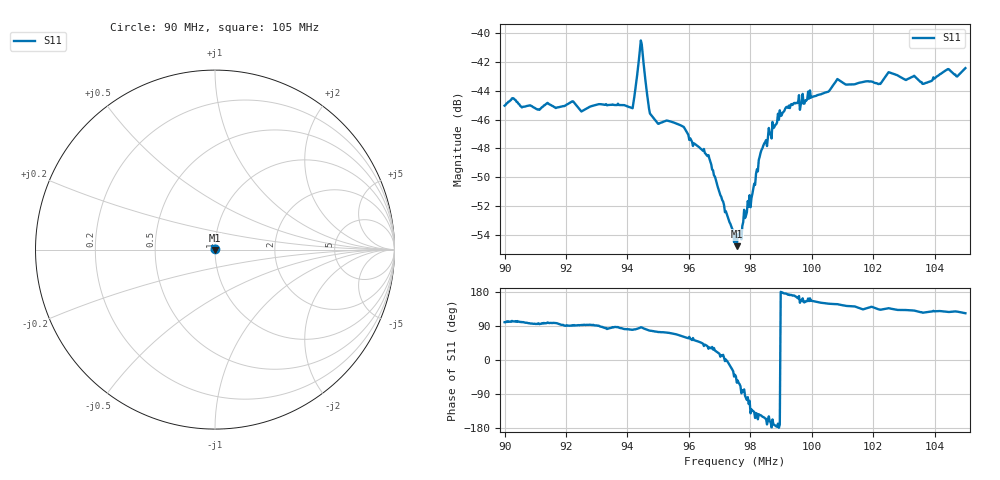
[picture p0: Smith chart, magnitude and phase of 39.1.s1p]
# HZ S RI R 50
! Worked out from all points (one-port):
!   505 points, 90 MHz to 105 MHz, reference 50 ohm
!   lowest |S11| = -54.8 dB at 97.56 MHz (marker M1), VSWR 1.00, Z = 50.1 - j0.158 ohm
!   |S11| at or under -10 dB: start of sweep to end of sweep
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9e7  -0.000949 0.00552
9.029762e7  -0.00122 0.0058
9.107143e7  -0.000479 0.0054
9.187501e7  -0.000258 0.00556
9.375001e7  0.000511 0.0056
9.416668e7  0.000975 0.0054
9.443454e7  0.000595 0.00939
9.449406e7  0.000797 0.0084
9.467263e7  0.00112 0.00564
9.479168e7  0.00117 0.00502
9.562502e7  0.0019 0.00445
9.663693e7  0.00328 0.00186
9.750002e7  0.00157 -0.00127
9.755955e7  0.000916 -0.00158
9.76786e7  0.000732 -0.00194
9.80655e7  -0.0019 -0.00202
9.839288e7  -0.00344 -0.00202
9.895836e7  -0.00532 -0.000919
9.937503e7  -0.00554 0.000992
1.00506e8  -0.00535 0.00322
1.008334e8  -0.00582 0.00374
1.0125e8  -0.00524 0.00407
1.022024e8  -0.00457 0.00485
1.025298e8  -0.00526 0.00505
1.03125e8  -0.00459 0.00518
1.036608e8  -0.00386 0.00544
1.044048e8  -0.00449 0.00596
1.05e8  -0.00416 0.0063
